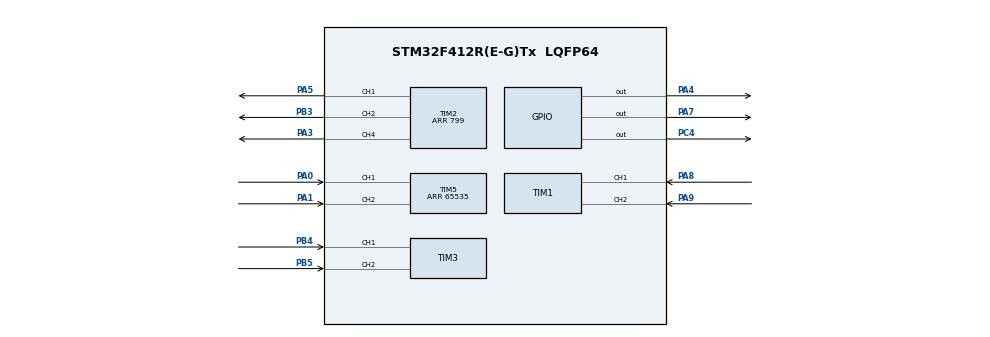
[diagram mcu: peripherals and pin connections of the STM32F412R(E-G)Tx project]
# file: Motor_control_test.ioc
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Mcu.Family=STM32F4
Mcu.Name=STM32F412R(E-G)Tx
Mcu.Package=LQFP64
NVIC.PriorityGroup=NVIC_PRIORITYGROUP_4
PA0.Signal=S_TIM5_CH1
PA1.Signal=S_TIM5_CH2
PA13.Mode=Serial_Wire
PA13.Signal=SYS_JTMS-SWDIO
PA14.Mode=Serial_Wire
PA14.Signal=SYS_JTCK-SWCLK
PA3.Signal=S_TIM2_CH4
PA4.Signal=GPIO_Output
PA5.Signal=S_TIM2_CH1_ETR
PA7.Signal=GPIO_Output
PA8.Signal=S_TIM1_CH1
PA9.Signal=S_TIM1_CH2
PB3.Signal=S_TIM2_CH2
PB4.Signal=S_TIM3_CH1
PB5.Signal=S_TIM3_CH2
PC4.Signal=GPIO_Output
ProjectManager.HeapSize=0x200
ProjectManager.StackSize=0x400
ProjectManager.TargetToolchain=STM32CubeIDE
RCC.CortexFreq_Value=16000000
RCC.USBFreq_Value=96000000
RCC.VCOOutputFreq_Value=192000000
SH.S_TIM1_CH1.0=TIM1_CH1,Encoder_Interface
SH.S_TIM1_CH2.0=TIM1_CH2,Encoder_Interface
SH.S_TIM2_CH1_ETR.0=TIM2_CH1,PWM Generation1 CH1
SH.S_TIM2_CH2.0=TIM2_CH2,PWM Generation2 CH2
SH.S_TIM2_CH4.0=TIM2_CH4,PWM Generation4 CH4
SH.S_TIM3_CH1.0=TIM3_CH1,Encoder_Interface
SH.S_TIM3_CH2.0=TIM3_CH2,Encoder_Interface
SH.S_TIM5_CH1.0=TIM5_CH1,Encoder_Interface
SH.S_TIM5_CH2.0=TIM5_CH2,Encoder_Interface
TIM1.EncoderMode=TIM_ENCODERMODE_TI12
TIM2.AutoReloadPreload=TIM_AUTORELOAD_PRELOAD_ENABLE
TIM2.Channel-PWM\ Generation1\ CH1=TIM_CHANNEL_1
TIM2.Channel-PWM\ Generation2\ CH2=TIM_CHANNEL_2
TIM2.Channel-PWM\ Generation4\ CH4=TIM_CHANNEL_4
TIM2.Period=799
TIM3.EncoderMode=TIM_ENCODERMODE_TI12
TIM5.EncoderMode=TIM_ENCODERMODE_TI12
TIM5.Period=65535
VP_TIM2_VS_ClockSourceINT.Mode=Internal
board=custom

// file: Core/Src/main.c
	/* USER CODE BEGIN Header */
/**
  ******************************************************************************
  * @file           : main.c
  * @brief          : Main program body
  ******************************************************************************
  * @attention
  *
  * Copyright (c) 2026 STMicroelectronics.
  * All rights reserved.
  *
  * This software is licensed under terms that can be found in the LICENSE file
  * in the root directory of this software component.
  * If no LICENSE file comes with this software, it is provided AS-IS.
  *
  ******************************************************************************
  */
/* USER CODE END Header */
#include "main.h"
#include "tim.h"
#include "gpio.h"
#include "motor.h"

/* USER CODE BEGIN PV */
extern TIM_HandleTypeDef htim1; // ENC1
extern TIM_HandleTypeDef htim2; // PWM
extern TIM_HandleTypeDef htim3; // ENC2
extern TIM_HandleTypeDef htim5; // ENC3 (Motor 4)

Motor_t motors[NUM_MOTORS];
/* USER CODE END PV */

void SystemClock_Config(void);

/* USER CODE BEGIN 0 */
// Blocking function to move a single motor to a target position with a timeout
void Motor_MoveTo(Motor_t *m, int32_t target_ticks) {
    m->target_pos = target_ticks;
    uint32_t start_time = HAL_GetTick();

    while (!Motor_UpdatePositionPID(m)) {
        HAL_Delay(10);

        // SAFETY 1: Runaway Protection (If error grows 50 ticks beyond initial target, KILL POWER)
        int32_t current_error = m->target_pos - m->encoder_pos;
        if (abs(current_error) > abs(target_ticks) + 50) {
            Motor_SetRawOutput(m, 0); // Emergency stop
            while (1); // Halt execution to protect hardware
        }

        // SAFETY 2: Shortened 1.5-second timeout
        if (HAL_GetTick() - start_time > 1500) {
            Motor_SetRawOutput(m, 0);
            break;
        }
    }
    Motor_SetRawOutput(m, 0);
}
/* USER CODE END 0 */

int main(void)
{

  /* MCU Configuration--------------------------------------------------------*/

  /* Reset of all peripherals, Initializes the Flash interface and the Systick. */
  HAL_Init();

  /* Configure the system clock */
  SystemClock_Config();

  /* Initialize all configured peripherals */
  MX_GPIO_Init();
  MX_TIM1_Init();
  MX_TIM2_Init();
  MX_TIM3_Init();
  MX_TIM5_Init();
  /* USER CODE BEGIN 2 */
  // --- Motor 1 (P3 + P1) ---
  motors[0].htim_pwm    = &htim2;
  motors[0].pwm_channel = TIM_CHANNEL_1;
  motors[0].dir_port    = GPIOA;
  motors[0].dir_pin     = GPIO_PIN_7;
  motors[0].invert_dir  = false;
  motors[0].htim_enc    = &htim1;
  motors[0].invert_enc  = true;
  motors[0].kp          = 4.0f;
  motors[0].kd          = 0.8f;

  // --- Motor 2 (P6 + P2) ---
  motors[1].htim_pwm    = &htim2;
  motors[1].pwm_channel = TIM_CHANNEL_2;
  motors[1].dir_port    = GPIOC;
  motors[1].dir_pin     = GPIO_PIN_4;
  motors[1].invert_dir  = false;
  motors[1].htim_enc    = &htim3;
  motors[1].invert_enc  = true;
  motors[1].kp          = 4.0f;
  motors[1].kd          = 0.8f;

  // --- Motor 4 (P12 + P4) ---
  motors[2].htim_pwm    = &htim2;
  motors[2].pwm_channel = TIM_CHANNEL_4;
  motors[2].dir_port    = GPIOA;
  motors[2].dir_pin     = GPIO_PIN_4;
  motors[2].invert_dir  = false;
  motors[2].htim_enc    = &htim5;
  motors[2].invert_enc  = true;
  motors[2].kp          = 4.0f;
  motors[2].kd          = 0.8f;

  Motors_Init(motors);

  // Target tick count for 90 degrees (start with 400 as a test reference)
  int32_t target_ticks = 100;
  Motor_MoveTo(&motors[0],target_ticks);
  HAL_Delay(5000);
  Motor_MoveTo(&motors[1],target_ticks);
  HAL_Delay(5000);
  Motor_MoveTo(&motors[2],target_ticks);
  HAL_Delay(5000);
  /* USER CODE END 2 */

  /* Infinite loop */
  while (1)
  {
	  Motor_UpdatePositionPID(&motors[0]);
	  Motor_UpdatePositionPID(&motors[1]);
	  Motor_UpdatePositionPID(&motors[2]);

	  HAL_Delay(10);

  }
}

void SystemClock_Config(void)
{
  RCC_OscInitTypeDef RCC_OscInitStruct = {0};
  RCC_ClkInitTypeDef RCC_ClkInitStruct = {0};

  /** Configure the main internal regulator output voltage
  */
  __HAL_RCC_PWR_CLK_ENABLE();
  __HAL_PWR_VOLTAGESCALING_CONFIG(PWR_REGULATOR_VOLTAGE_SCALE1);

  /** Initializes the RCC Oscillators according to the specified parameters
  * in the RCC_OscInitTypeDef structure.
  */
  RCC_OscInitStruct.OscillatorType = RCC_OSCILLATORTYPE_HSI;
  RCC_OscInitStruct.HSIState = RCC_HSI_ON;
  RCC_OscInitStruct.HSICalibrationValue = RCC_HSICALIBRATION_DEFAULT;
  RCC_OscInitStruct.PLL.PLLState = RCC_PLL_NONE;
  if (HAL_RCC_OscConfig(&RCC_OscInitStruct) != HAL_OK)
  {
    Error_Handler();
  }

  /** Initializes the CPU, AHB and APB buses clocks
  */
  RCC_ClkInitStruct.ClockType = RCC_CLOCKTYPE_HCLK|RCC_CLOCKTYPE_SYSCLK
                              |RCC_CLOCKTYPE_PCLK1|RCC_CLOCKTYPE_PCLK2;
  RCC_ClkInitStruct.SYSCLKSource = RCC_SYSCLKSOURCE_HSI;
  RCC_ClkInitStruct.AHBCLKDivider = RCC_SYSCLK_DIV1;
  RCC_ClkInitStruct.APB1CLKDivider = RCC_HCLK_DIV1;
  RCC_ClkInitStruct.APB2CLKDivider = RCC_HCLK_DIV1;

  if (HAL_RCC_ClockConfig(&RCC_ClkInitStruct, FLASH_LATENCY_0) != HAL_OK)
  {
    Error_Handler();
  }
}

void Error_Handler(void)
{
  __disable_irq();
  while (1)
  {
  }
}
